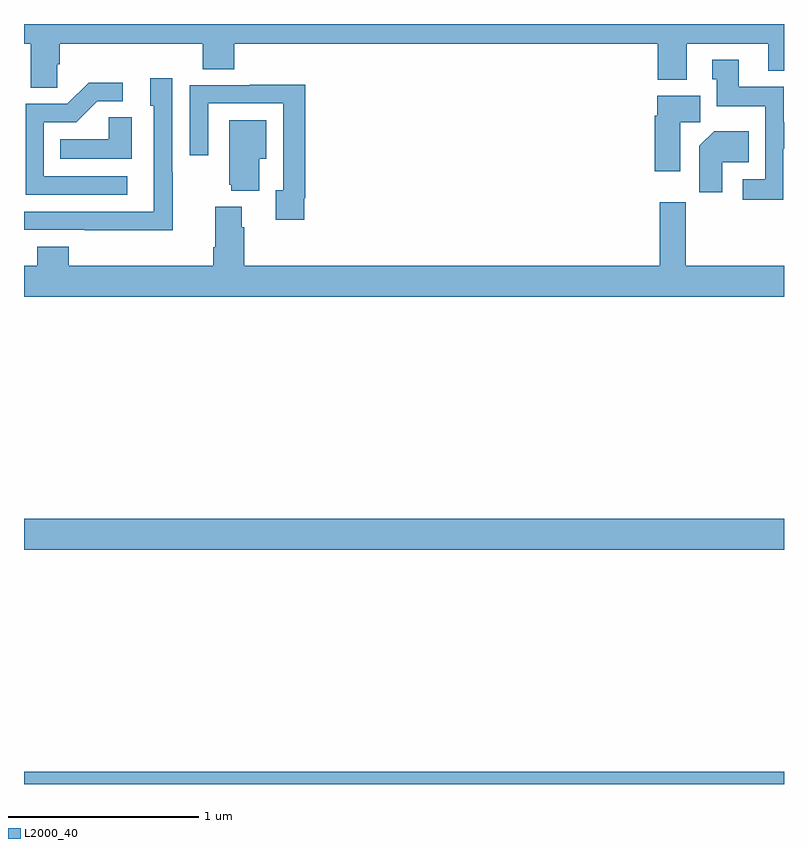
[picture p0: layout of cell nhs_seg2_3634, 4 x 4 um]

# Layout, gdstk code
import gdstk
lib = gdstk.Library(unit=1e-6, precision=1e-09)
def R(c, l, rs):  # rectangles x0, y0, x1, y1
    for r in rs: c.add(gdstk.rectangle(r[:2], r[2:], *l))
def P(c, l, *ps):  # polygons
    for p in ps: c.add(gdstk.Polygon(p, *l))
L2000_40 = (2000, 40)

nhs_seg2_3634 = lib.new_cell('nhs_seg2_3634')
R(nhs_seg2_3634, L2000_40, [(303,583.8,307,583.864), (303,585.032,307,585.196)])
P(nhs_seg2_3634, L2000_40, [(303.174,587.587),(303.188,587.587),(303.188,587.696),(303.941,587.696),(303.941,587.563),(304.106,587.563),(304.106,587.696),(306.335,587.696),(306.335,587.507),(306.487,587.507),(306.487,587.696),(306.917,587.696),(306.917,587.555),(307,587.555),(307,587.8),(303,587.8),(303,587.696),(303.035,587.696),(303.035,587.464),(303.174,587.464)],
  [(306.996,587.144),(307,587.144),(307,587.284),(306.999,587.284),(306.999,587.47),(306.763,587.47),(306.763,587.611),(306.623,587.611),(306.623,587.508),(306.647,587.508),(306.647,587.366),(306.9,587.366),(306.9,586.983),(306.783,586.983),(306.783,586.875),(306.996,586.875)],
  [(303.783,587.021),(303.78,587.021),(303.78,587.515),(303.665,587.515),(303.665,587.37),(303.684,587.37),(303.684,586.812),(303,586.812),(303,586.716),(303.319,586.716),(303.319,586.715),(303.783,586.715)],
  [(303.544,586.998),(303.105,586.998),(303.105,587.283),(303.274,587.283),(303.385,587.394),(303.52,587.394),(303.52,587.492),(303.341,587.492),(303.228,587.379),(303.009,587.379),(303.009,586.902),(303.544,586.902)],
  [(304.474,586.882),(304.481,586.882),(304.481,587.48),(304.189,587.48),(304.189,587.478),(303.873,587.478),(303.873,587.109),(303.969,587.109),(303.969,587.382),(304.365,587.382),(304.365,586.926),(304.325,586.926),(304.325,586.77),(304.474,586.77)],
  [(306.454,587.284),(306.559,587.284),(306.559,587.422),(306.332,587.422),(306.332,587.318),(306.32,587.318),(306.32,587.025),(306.454,587.025)],
  [(303.568,587.309),(303.447,587.309),(303.447,587.194),(303.19,587.194),(303.19,587.09),(303.568,587.09)],
  [(304.237,587.09),(304.276,587.09),(304.276,587.293),(304.079,587.293),(304.079,586.953),(304.091,586.953),(304.091,586.922),(304.237,586.922)],
  [(306.676,587.072),(306.815,587.072),(306.815,587.236),(306.632,587.236),(306.554,587.158),(306.554,586.914),(306.676,586.914)],
  [(307,586.528),(306.482,586.528),(306.482,586.861),(306.346,586.861),(306.346,586.528),(304.16,586.528),(304.16,586.73),(304.147,586.73),(304.147,586.837),(304.007,586.837),(304.007,586.624),(303.995,586.624),(303.995,586.528),(303.236,586.528),(303.236,586.627),(303.071,586.627),(303.071,586.528),(303,586.528),(303,586.364),(307,586.364)])

lib.write_gds('nhs_seg2_3634.gds')
